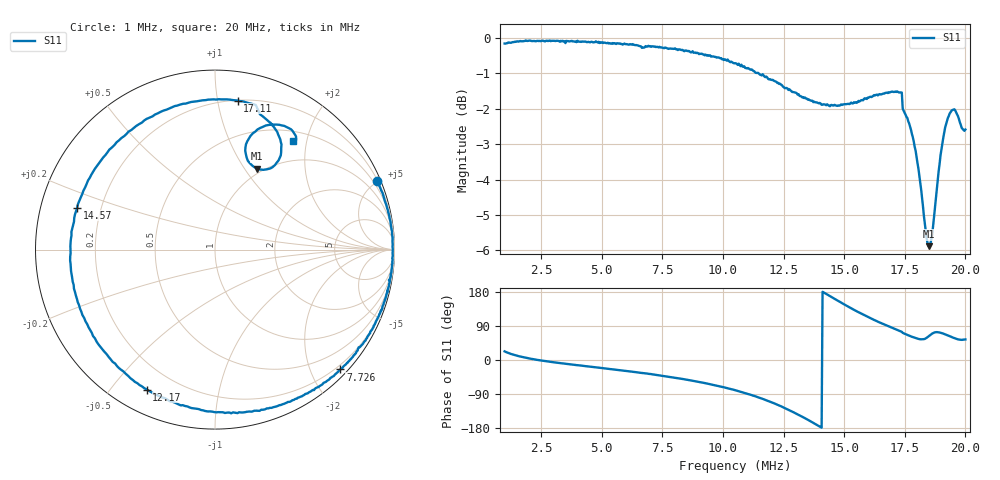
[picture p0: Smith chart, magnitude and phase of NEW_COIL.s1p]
!Keysight Technologies N9918A: A.12.56
!Date: Thursday, 10 July 2025 06:22:01
!TimeZone: (UTC-08:00) Pacific Time (US & Canada)!Model: N9918A
!Serial: MY56072139
!GPS Latitude:
!GPS Longitude:
!GPS TimeStamp: 0001-01-01 00:00:00Z
!GPS Seconds Since Last Read: 0
!CHECKSUM:0474896419
!Correction: S11(ON U)
!S1P File: Measurement: S11:
# Hz S DB R 50
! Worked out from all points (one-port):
!   501 points, 1 MHz to 20 MHz, reference 50 ohm
!   lowest |S11| = -5.9 dB at 18.48 MHz (marker M1), VSWR 3.07, Z = 47.1 + j57.2 ohm
!   |S11| at or under -10 dB: nowhere
!   S11 on the Smith chart (normalised r, x): 1 MHz: 0.23, +4.95; 7.726 MHz: 0.12, -2.49; 12.17 MHz: 0.10, -0.62; 14.57 MHz: 0.11, +0.15; 17.11 MHz: 0.20, +1.14; 20 MHz: 0.66, +1.76
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1000000  -0.16 22.8
1456000  -0.11 12.2
2102000  -0.09 3.0
3394000  -0.08 -8.9
5750000  -0.15 -26.9
7726000  -0.30 -43.7
8144000  -0.34 -48.0
9360000  -0.49 -62.3
1.05e7  -0.71 -79.5
1.1374e7  -0.99 -96.6
1.2172e7  -1.24 -116.0
1.2894e7  -1.53 -137.4
1.3768e7  -1.80 -167.3
1.4224e7  -1.88 175.7
1.4566e7  -1.91 163.0
1.525e7  -1.85 137.9
1.6162e7  -1.66 108.0
1.6656e7  -1.57 93.6
1.7112e7  -1.51 81.3
1.7302e7  -1.54 76.3
1.7644e7  -2.35 65.3
1.81e7  -3.88 55.1
1.8328e7  -5.24 55.7
1.848e7  -5.88 62.4
1.8784e7  -4.51 73.4
1.9202e7  -2.44 66.9
1.962e7  -2.11 55.9
2e7  -2.59 54.3
